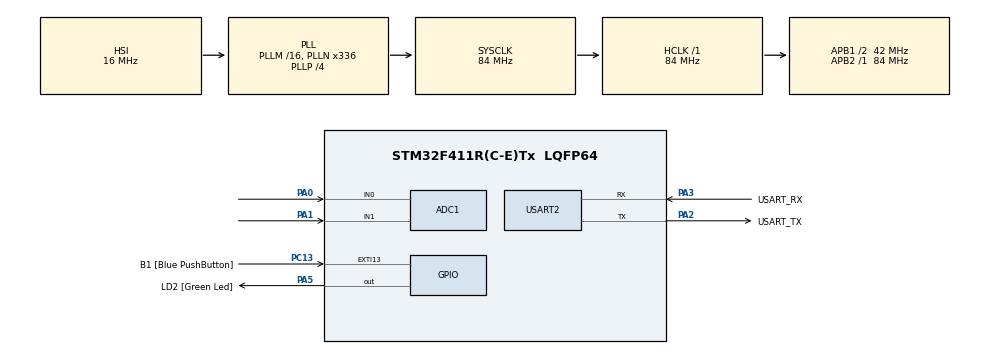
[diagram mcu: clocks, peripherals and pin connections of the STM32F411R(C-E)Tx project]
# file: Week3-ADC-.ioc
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ADC1.Channel-0\#ChannelRegularConversion=ADC_CHANNEL_0
ADC1.NbrOfConversionFlag=1
ADC1.Rank-0\#ChannelRegularConversion=1
ADC1.SamplingTime-0\#ChannelRegularConversion=ADC_SAMPLETIME_3CYCLES
ADC1.master=1
Mcu.Family=STM32F4
Mcu.Name=STM32F411R(C-E)Tx
Mcu.Package=LQFP64
NVIC.PriorityGroup=NVIC_PRIORITYGROUP_0
PA0-WKUP.Signal=ADCx_IN0
PA1.Signal=ADCx_IN1
PA13.GPIO_Label=TMS
PA13.Mode=Serial_Wire
PA13.Signal=SYS_JTMS-SWDIO
PA14.GPIO_Label=TCK
PA14.Mode=Serial_Wire
PA14.Signal=SYS_JTCK-SWCLK
PA2.GPIO_Label=USART_TX
PA2.Mode=Asynchronous
PA2.Signal=USART2_TX
PA3.GPIO_Label=USART_RX
PA3.Mode=Asynchronous
PA3.Signal=USART2_RX
PA5.GPIO_Label=LD2 [Green Led]
PA5.Signal=GPIO_Output
PB3.GPIO_Label=SWO
PB3.Signal=SYS_JTDO-SWO
PC13-ANTI_TAMP.GPIO_Label=B1 [Blue PushButton]
PC13-ANTI_TAMP.GPIO_ModeDefaultEXTI=GPIO_MODE_IT_FALLING
PC13-ANTI_TAMP.Signal=GPXTI13
PC14-OSC32_IN.Mode=LSE-External-Oscillator
PC14-OSC32_IN.Signal=RCC_OSC32_IN
PC15-OSC32_OUT.Mode=LSE-External-Oscillator
PC15-OSC32_OUT.Signal=RCC_OSC32_OUT
PH0\ -\ OSC_IN.Mode=HSE-External-Clock-Source
PH0\ -\ OSC_IN.Signal=RCC_OSC_IN
PH1\ -\ OSC_OUT.Mode=HSE-External-Clock-Source
PH1\ -\ OSC_OUT.Signal=RCC_OSC_OUT
ProjectManager.HeapSize=0x200
ProjectManager.StackSize=0x400
ProjectManager.TargetToolchain=STM32CubeIDE
RCC.48MHZClocksFreq_Value=84000000
RCC.AHBFreq_Value=84000000
RCC.APB1CLKDivider=RCC_HCLK_DIV2
RCC.APB1Freq_Value=42000000
RCC.APB1TimFreq_Value=84000000
RCC.APB2Freq_Value=84000000
RCC.APB2TimFreq_Value=84000000
RCC.CortexFreq_Value=84000000
RCC.FLatency-AdvancedSettings=FLASH_LATENCY_2
RCC.HCLKFreq_Value=84000000
RCC.HSE_VALUE=8000000
RCC.HSI_VALUE=16000000
RCC.PLLN=336
RCC.PLLP=RCC_PLLP_DIV4
RCC.SYSCLKFreq_VALUE=84000000
RCC.SYSCLKSource=RCC_SYSCLKSOURCE_PLLCLK
RCC.VCOOutputFreq_Value=336000000
SH.ADCx_IN0.0=ADC1_IN0,IN0
SH.ADCx_IN1.0=ADC1_IN1,IN1
USART2.VirtualMode=VM_ASYNC
VP_ADC1_TempSens_Input.Mode=IN-TempSens
board=NUCLEO-F411RE

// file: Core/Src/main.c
/* USER CODE BEGIN Header */
/**
 ******************************************************************************
 * @file           : main.c
 * @brief          : Main program body
 ******************************************************************************
 * @attention
 *
 * <h2><center>&copy; Copyright (c) 2021 STMicroelectronics.
 * All rights reserved.</center></h2>
 *
 * This software component is licensed by ST under BSD 3-Clause license,
 * the "License"; You may not use this file except in compliance with the
 * License. You may obtain a copy of the License at:
 *                        opensource.org/licenses/BSD-3-Clause
 *
 ******************************************************************************
 */
/* USER CODE END Header */
#include "main.h"

ADC_HandleTypeDef hadc1;

UART_HandleTypeDef huart2;

/* USER CODE BEGIN PV */
uint16_t adcdata[2] = { 0 };
int ADCMode = 0;
float ADCOutputConverted;
float Avg_Slope = 2.5;
int V25 = 760; // mV
typedef struct {
	ADC_ChannelConfTypeDef Config;
	uint32_t data;
} ADCStructure;

ADCStructure ADCChannel[2] = { 0 };

/* USER CODE END PV */

void SystemClock_Config(void);
static void MX_GPIO_Init(void);
static void MX_USART2_UART_Init(void);
static void MX_ADC1_Init(void);
/* USER CODE BEGIN PFP */
void ADCPollingMethodInit();
void ADCPollingMethodUpdate();
/* USER CODE END PFP */

int main(void)
{

  /* MCU Configuration--------------------------------------------------------*/

  /* Reset of all peripherals, Initializes the Flash interface and the Systick. */
  HAL_Init();

  /* Configure the system clock */
  SystemClock_Config();

  /* Initialize all configured peripherals */
  MX_GPIO_Init();
  MX_USART2_UART_Init();
  MX_ADC1_Init();
  /* USER CODE BEGIN 2 */
	ADCPollingMethodInit();

  /* USER CODE END 2 */

  /* Infinite loop */
	while (1) {

    /* USER CODE BEGIN 3 */

		ADCPollingMethodUpdate();
	}
  /* USER CODE END 3 */
}

void SystemClock_Config(void)
{
  RCC_OscInitTypeDef RCC_OscInitStruct = {0};
  RCC_ClkInitTypeDef RCC_ClkInitStruct = {0};

  /** Configure the main internal regulator output voltage
  */
  __HAL_RCC_PWR_CLK_ENABLE();
  __HAL_PWR_VOLTAGESCALING_CONFIG(PWR_REGULATOR_VOLTAGE_SCALE1);
  /** Initializes the RCC Oscillators according to the specified parameters
  * in the RCC_OscInitTypeDef structure.
  */
  RCC_OscInitStruct.OscillatorType = RCC_OSCILLATORTYPE_HSI;
  RCC_OscInitStruct.HSIState = RCC_HSI_ON;
  RCC_OscInitStruct.HSICalibrationValue = RCC_HSICALIBRATION_DEFAULT;
  RCC_OscInitStruct.PLL.PLLState = RCC_PLL_ON;
  RCC_OscInitStruct.PLL.PLLSource = RCC_PLLSOURCE_HSI;
  RCC_OscInitStruct.PLL.PLLM = 16;
  RCC_OscInitStruct.PLL.PLLN = 336;
  RCC_OscInitStruct.PLL.PLLP = RCC_PLLP_DIV4;
  RCC_OscInitStruct.PLL.PLLQ = 4;
  if (HAL_RCC_OscConfig(&RCC_OscInitStruct) != HAL_OK)
  {
    Error_Handler();
  }
  /** Initializes the CPU, AHB and APB buses clocks
  */
  RCC_ClkInitStruct.ClockType = RCC_CLOCKTYPE_HCLK|RCC_CLOCKTYPE_SYSCLK
                              |RCC_CLOCKTYPE_PCLK1|RCC_CLOCKTYPE_PCLK2;
  RCC_ClkInitStruct.SYSCLKSource = RCC_SYSCLKSOURCE_PLLCLK;
  RCC_ClkInitStruct.AHBCLKDivider = RCC_SYSCLK_DIV1;
  RCC_ClkInitStruct.APB1CLKDivider = RCC_HCLK_DIV2;
  RCC_ClkInitStruct.APB2CLKDivider = RCC_HCLK_DIV1;

  if (HAL_RCC_ClockConfig(&RCC_ClkInitStruct, FLASH_LATENCY_2) != HAL_OK)
  {
    Error_Handler();
  }
}

static void MX_ADC1_Init(void)
{

  ADC_ChannelConfTypeDef sConfig = {0};

  /** Configure the global features of the ADC (Clock, Resolution, Data Alignment and number of conversion)
  */
  hadc1.Instance = ADC1;
  hadc1.Init.ClockPrescaler = ADC_CLOCK_SYNC_PCLK_DIV4;
  hadc1.Init.Resolution = ADC_RESOLUTION_12B;
  hadc1.Init.ScanConvMode = DISABLE;
  hadc1.Init.ContinuousConvMode = DISABLE;
  hadc1.Init.DiscontinuousConvMode = DISABLE;
  hadc1.Init.ExternalTrigConvEdge = ADC_EXTERNALTRIGCONVEDGE_NONE;
  hadc1.Init.ExternalTrigConv = ADC_SOFTWARE_START;
  hadc1.Init.DataAlign = ADC_DATAALIGN_RIGHT;
  hadc1.Init.NbrOfConversion = 1;
  hadc1.Init.DMAContinuousRequests = DISABLE;
  hadc1.Init.EOCSelection = ADC_EOC_SINGLE_CONV;
  if (HAL_ADC_Init(&hadc1) != HAL_OK)
  {
    Error_Handler();
  }
  /** Configure for the selected ADC regular channel its corresponding rank in the sequencer and its sample time.
  */
  sConfig.Channel = ADC_CHANNEL_0;
  sConfig.Rank = 1;
  sConfig.SamplingTime = ADC_SAMPLETIME_3CYCLES;
  if (HAL_ADC_ConfigChannel(&hadc1, &sConfig) != HAL_OK)
  {
    Error_Handler();
  }

}

static void MX_USART2_UART_Init(void)
{

  huart2.Instance = USART2;
  huart2.Init.BaudRate = 115200;
  huart2.Init.WordLength = UART_WORDLENGTH_8B;
  huart2.Init.StopBits = UART_STOPBITS_1;
  huart2.Init.Parity = UART_PARITY_NONE;
  huart2.Init.Mode = UART_MODE_TX_RX;
  huart2.Init.HwFlowCtl = UART_HWCONTROL_NONE;
  huart2.Init.OverSampling = UART_OVERSAMPLING_16;
  if (HAL_UART_Init(&huart2) != HAL_OK)
  {
    Error_Handler();
  }

}

static void MX_GPIO_Init(void)
{
  GPIO_InitTypeDef GPIO_InitStruct = {0};

  /* GPIO Ports Clock Enable */
  __HAL_RCC_GPIOC_CLK_ENABLE();
  __HAL_RCC_GPIOH_CLK_ENABLE();
  __HAL_RCC_GPIOA_CLK_ENABLE();
  __HAL_RCC_GPIOB_CLK_ENABLE();

  /*Configure GPIO pin Output Level */
  HAL_GPIO_WritePin(LD2_GPIO_Port, LD2_Pin, GPIO_PIN_RESET);

  /*Configure GPIO pin : B1_Pin */
  GPIO_InitStruct.Pin = B1_Pin;
  GPIO_InitStruct.Mode = GPIO_MODE_IT_FALLING;
  GPIO_InitStruct.Pull = GPIO_NOPULL;
  HAL_GPIO_Init(B1_GPIO_Port, &GPIO_InitStruct);

  /*Configure GPIO pin : LD2_Pin */
  GPIO_InitStruct.Pin = LD2_Pin;
  GPIO_InitStruct.Mode = GPIO_MODE_OUTPUT_PP;
  GPIO_InitStruct.Pull = GPIO_NOPULL;
  GPIO_InitStruct.Speed = GPIO_SPEED_FREQ_LOW;
  HAL_GPIO_Init(LD2_GPIO_Port, &GPIO_InitStruct);

}

/* USER CODE BEGIN 4 */
void ADCPollingMethodInit() {
	//config all ADC Channel
	ADCChannel[0].Config.Channel = ADC_CHANNEL_0;
	ADCChannel[0].Config.Rank = 1;
	ADCChannel[0].Config.SamplingTime = ADC_SAMPLETIME_3CYCLES;

	ADCChannel[1].Config.Channel = ADC_CHANNEL_TEMPSENSOR;
	ADCChannel[1].Config.Rank = 1;
	ADCChannel[1].Config.SamplingTime = ADC_SAMPLETIME_3CYCLES;
}
//Polling Method
void ADCPollingMethodUpdate() {
	//Read all 3 Channel
//	for (int i = 0; i < 3; i++) {
//		HAL_ADC_ConfigChannel(&hadc1, &ADCChannel[i].Config);
//		HAL_ADC_Start(&hadc1);
//		HAL_ADC_PollForConversion(&hadc1, 10);
//		ADCChannel[i].data = HAL_ADC_GetValue(&hadc1);
//		HAL_ADC_Stop(&hadc1);
//	}

	GPIO_PinState Switch[2];
	Switch[0] = HAL_GPIO_ReadPin(GPIOC, GPIO_PIN_13);
	if (Switch[0] == 0 && Switch[1] == 1)
	{
		if(ADCMode == 1)
		{
			HAL_ADC_ConfigChannel(&hadc1, &ADCChannel[0].Config);
			HAL_ADC_Start(&hadc1);
			HAL_ADC_PollForConversion(&hadc1, 5);
			ADCChannel[0].data = HAL_ADC_GetValue(&hadc1);
			HAL_ADC_Stop(&hadc1);
			ADCOutputConverted = ((ADCChannel[0].data /4096.0) *3.3)* 1000;
			ADCMode = 0;
		}
		else
		{
			HAL_ADC_ConfigChannel(&hadc1, &ADCChannel[1].Config);
			HAL_ADC_Start(&hadc1);
			HAL_ADC_PollForConversion(&hadc1, 5);
			ADCChannel[1].data = HAL_ADC_GetValue(&hadc1);
			HAL_ADC_Stop(&hadc1);
			ADCOutputConverted = ((((ADCChannel[1].data / 4096.0)*3.3)*1000 - V25) / Avg_Slope)+25;
			ADCMode = 1;
		}
	}
	Switch[1] = Switch[0];
}
/* USER CODE END 4 */

void Error_Handler(void)
{
	__disable_irq();
	while (1) {
	}
}

/************************ (C) COPYRIGHT STMicroelectronics *****END OF FILE****/
